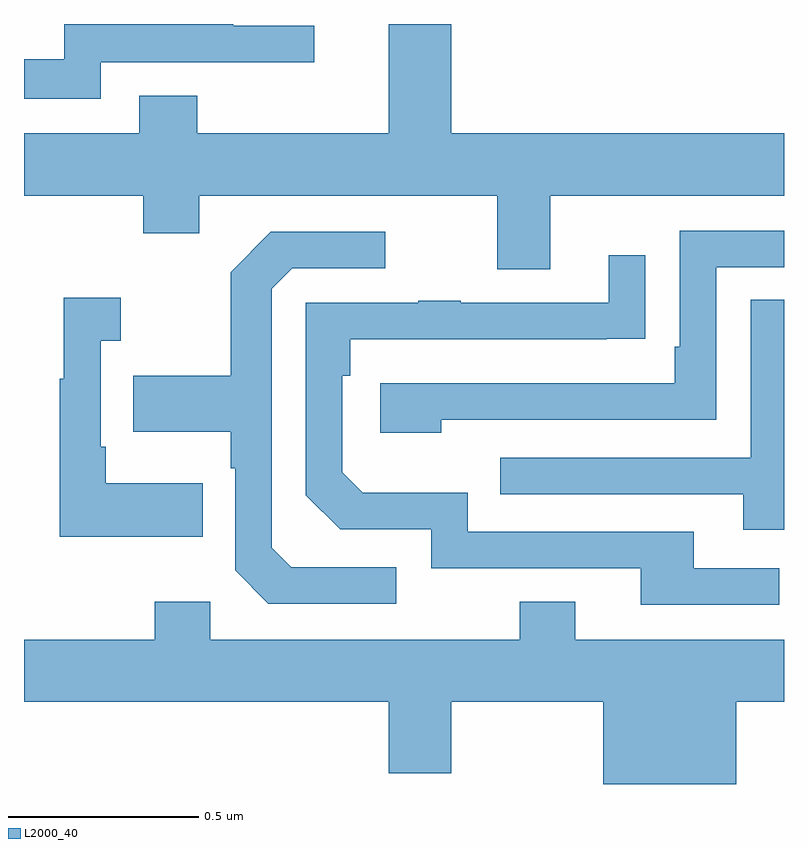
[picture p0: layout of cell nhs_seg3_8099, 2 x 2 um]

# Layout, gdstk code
import gdstk
lib = gdstk.Library(unit=1e-6, precision=1e-09)
def P(c, l, *ps):  # polygons
    for p in ps: c.add(gdstk.Polygon(p, *l))
L2000_40 = (2000, 40)

nhs_seg3_8099 = lib.new_cell('nhs_seg3_8099')
P(nhs_seg3_8099, L2000_40, [(213.385,668.948),(214,668.948),(214,669.112),(213.124,669.112),(213.124,669.4),(212.96,669.4),(212.96,669.112),(212.456,669.112),(212.456,669.211),(212.303,669.211),(212.303,669.112),(212,669.112),(212,668.948),(212.314,668.948),(212.314,668.849),(212.461,668.849),(212.461,668.948),(213.245,668.948),(213.245,668.754),(213.385,668.754)],
  [(212.202,669.3),(212.764,669.3),(212.764,669.396),(212.55,669.396),(212.55,669.4),(212.106,669.4),(212.106,669.307),(212,669.307),(212,669.203),(212.202,669.203)],
  [(213.098,668.358),(213.822,668.358),(213.822,668.76),(214,668.76),(214,668.856),(213.726,668.856),(213.726,668.551),(213.713,668.551),(213.713,668.454),(212.937,668.454),(212.937,668.324),(213.098,668.324)],
  [(212.98,667.971),(212.703,667.971),(212.652,668.022),(212.652,668.703),(212.706,668.757),(212.95,668.757),(212.95,668.853),(212.649,668.853),(212.544,668.747),(212.544,668.475),(212.287,668.475),(212.287,668.327),(212.544,668.327),(212.544,668.231),(212.556,668.231),(212.556,667.962),(212.643,667.875),(212.98,667.875)],
  [(213.988,667.968),(213.763,667.968),(213.763,668.064),(213.168,668.064),(213.168,668.167),(212.891,668.167),(212.838,668.22),(212.838,668.474),(212.858,668.474),(212.858,668.571),(213.533,668.571),(213.533,668.572),(213.635,668.572),(213.635,668.791),(213.539,668.791),(213.539,668.667),(213.149,668.667),(213.149,668.672),(213.037,668.672),(213.037,668.667),(212.742,668.667),(212.742,668.16),(212.832,668.07),(213.072,668.07),(213.072,667.968),(213.623,667.968),(213.623,667.872),(213.988,667.872)],
  [(212.471,668.191),(212.215,668.191),(212.215,668.287),(212.202,668.287),(212.202,668.567),(212.254,668.567),(212.254,668.68),(212.105,668.68),(212.105,668.467),(212.094,668.467),(212.094,668.051),(212.471,668.051)],
  [(214,668.675),(213.912,668.675),(213.912,668.259),(213.253,668.259),(213.253,668.163),(213.893,668.163),(213.893,668.069),(214,668.069)],
  [(213.874,667.616),(214,667.616),(214,667.78),(213.451,667.78),(213.451,667.879),(213.304,667.879),(213.304,667.78),(212.49,667.78),(212.49,667.879),(212.344,667.879),(212.344,667.78),(212,667.78),(212,667.616),(212.96,667.616),(212.96,667.428),(213.124,667.428),(213.124,667.616),(213.524,667.616),(213.524,667.4),(213.874,667.4)])

lib.write_gds('nhs_seg3_8099.gds')
